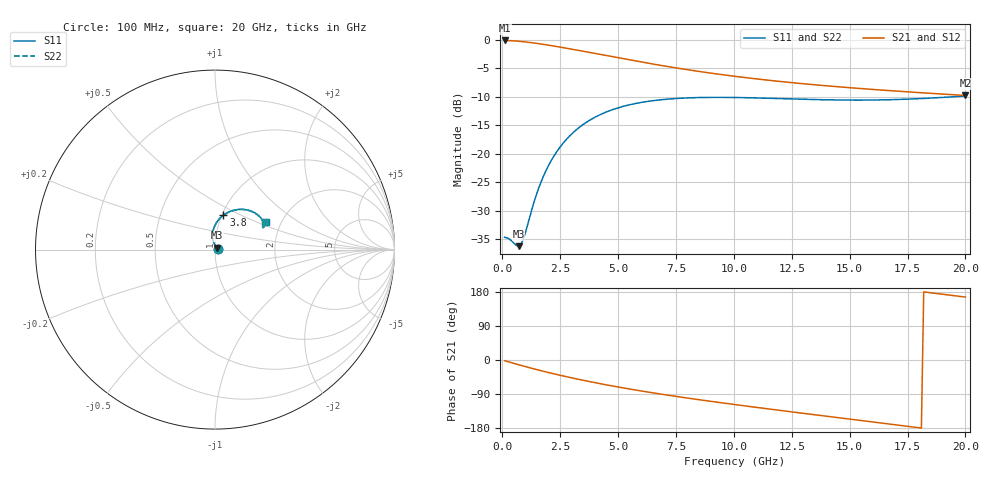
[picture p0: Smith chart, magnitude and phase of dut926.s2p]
! Touchstone file exported from HFSS 2024.1.0
!  File:  C:/UserFiles/LocalFiles/RDL_TSV_Batchsim/temp_RDL_TSV_926_1779959442.aedt
!  Generated:  05:26:41 PM May 28, 2026
!  Design:  RDL_TSV
!  Project:  temp_RDL_TSV_926_1779959442
!  Setup:  Setup1
!  Solution:  Sweep
! Variables:
!  dtsv = 9.86um
!  hbump = 3um
!  htsv = 98.03um
!  ldown = 547.2um
!  lrdl = 186um
!  p = 40
!  p1 = 50.04um
!  rhole = 10um
!  subl = 2385.6um
!  t = 450um
!  tdown = 3.95um
!  trdl = 2.56um
!  viad = 10um
!  wdown = 12.51um
!  wrdl = 16.53um
!  xbump = 18um
# GHz S MA R 50.000000
! Terminal data exported
! Port[1] = TM1_1_T1
! Port[2] = TM1_4_T1
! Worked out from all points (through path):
!   200 points, 100 MHz to 20 GHz, reference 50 ohm
!   highest |S21| = -0.17 dB at 100 MHz (marker M1); lowest = -9.8 dB at 20 GHz (marker M2)
!   group delay of S21, straight-line fit = 25.1 ps
!   lowest |S11| = -36.2 dB at 700 MHz (marker M3), VSWR 1.03, Z = 51.1 + j1.13 ohm
!   |S11| at or under -10 dB: start of sweep to 19.62 GHz
!   |S22| runs from -36.2 to -9.9 dB; largest |S21 - S12| = 2.8e-14
!   S11 on the Smith chart (normalised r, x): 100 MHz: 1.04, +0.00; 3.8 GHz: 1.02, +0.41; 20 GHz: 1.67, +0.56
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0.1  0.01846 4.4  0.9811 -1.8  0.9811 -1.8  0.01846 4.4
! Gamma 0 0 0 0
! Port Impedance 50 0 50 0
0.3  0.01785 13.3  0.9781 -5.4  0.9781 -5.4  0.01786 13.3
0.7  0.01544 45.5  0.9658 -12.4  0.9658 -12.4  0.01545 45.4
0.8  0.01597 58.3  0.9617 -14.1  0.9617 -14.1  0.01597 58.1
0.9  0.01758 70.7  0.9572 -15.8  0.9572 -15.8  0.01757 70.5
1.5  0.04529 101.4  0.9243 -25.6  0.9243 -25.6  0.04515 101.3
1.7  0.05817 102.0  0.9117 -28.7  0.9117 -28.7  0.05797 101.9
2  0.07883 100.2  0.8919 -33.2  0.8919 -33.2  0.07857 100.1
2.3  0.1002 96.9  0.8714 -37.5  0.8714 -37.5  0.09985 96.8
2.7  0.1285 91.5  0.8437 -43.1  0.8437 -43.1  0.128 91.4
3.5  0.1804 80.2  0.7884 -53.6  0.7884 -53.6  0.1798 80.2
3.8  0.1975 76.2  0.7682 -57.4  0.7682 -57.4  0.1969 76.2
4.4  0.2275 68.7  0.729 -64.5  0.729 -64.5  0.2267 68.6
5.1  0.2553 60.9  0.6858 -72.3  0.6858 -72.3  0.2544 60.9
5.9  0.2785 53.3  0.6406 -80.7  0.6406 -80.7  0.2776 53.2
6.8  0.2957 46.1  0.5952 -89.5  0.5952 -89.5  0.2947 46.1
8.3  0.3092 37.0  0.5322 -103.1  0.5322 -103.1  0.3081 36.9
10.1  0.3102 29.8  0.4742 -118.1  0.4742 -118.1  0.3089 29.7
11.7  0.3047 26.2  0.435 -130.7  0.435 -130.7  0.3034 26.1
13.4  0.2979 24.6  0.4025 -143.8  0.4025 -143.8  0.2965 24.6
16.7  0.2966 26.1  0.3567 -168.9  0.3567 -168.9  0.2953 26.1
20  0.3199 28.3  0.3232 166.0  0.3232 166.0  0.3188 28.4
